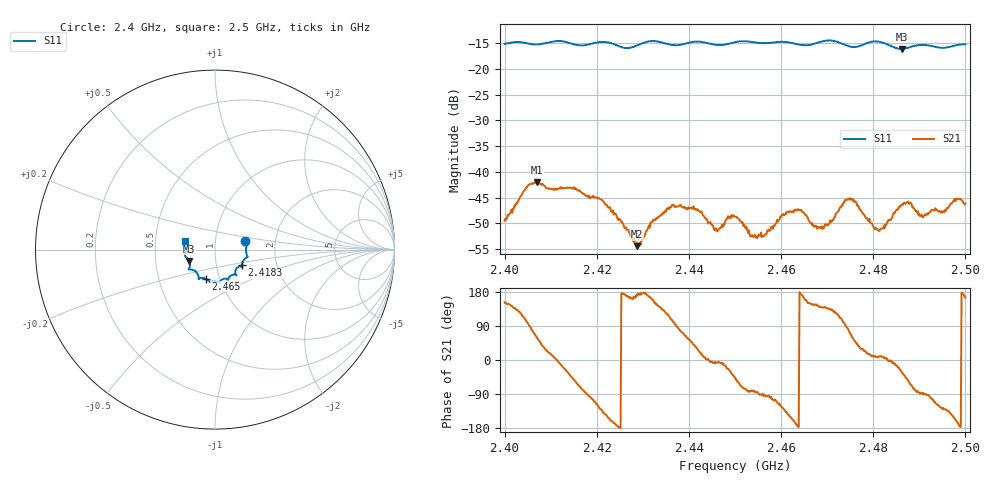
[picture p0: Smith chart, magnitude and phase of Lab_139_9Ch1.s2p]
# Hz S RI R 50
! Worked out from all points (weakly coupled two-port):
!   601 points, 2.4 GHz to 2.5 GHz, reference 50 ohm
!   highest |S21| = -41.98 dB at 2.407 GHz (marker M1); lowest = -54.4 dB at 2.4287 GHz (marker M2)
!   lowest |S11| = -16.1 dB at 2.4862 GHz (marker M3), VSWR 1.37, Z = 37.2 - j4.8 ohm
!   |S11| at or under -10 dB: start of sweep to end of sweep
!   S12 and S22 are empty: the file has one direction only
!   S11 on the Smith chart (normalised r, x): 2.4 GHz: 1.40, +0.13; 2.4183 GHz: 1.33, -0.24; 2.465 GHz: 0.86, -0.28; 2.5 GHz: 0.71, +0.07
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2.4e9  0.1687 0.0463  -0.00299 0.00155  0 0  0 0
2.407e9  0.1725 -0.00331  0.00403 0.00687  0 0  0 0
2.416667e9  0.1547 -0.0677  0.0015 -0.00615  0 0  0 0
2.418333e9  0.1499 -0.0869  -0.000542 -0.00585  0 0  0 0
2.421167e9  0.1525 -0.1007  -0.00373 -0.00382  0 0  0 0
2.428667e9  0.1123 -0.1253  -0.00186 0.000396  0 0  0 0
2.433333e9  0.1177 -0.1413  -0.00291 0.00221  0 0  0 0
2.436333e9  0.0969 -0.1405  -0.00129 0.00461  0 0  0 0
2.440833e9  0.0748 -0.1671  0.00323 0.00295  0 0  0 0
2.446e9  0.0538 -0.162  0.00266 -0.00034  0 0  0 0
2.45e9  0.0257 -0.1802  0.00258 -0.00264  0 0  0 0
2.4545e9  0.0115 -0.1798  0.000174 -0.0023  0 0  0 0
2.461667e9  -0.0311 -0.178  -0.00335 -0.00238  0 0  0 0
2.465e9  -0.0524 -0.1614  -0.00384 0.00113  0 0  0 0
2.466667e9  -0.0711 -0.1571  -0.00255 0.00171  0 0  0 0
2.470333e9  -0.0913 -0.1651  -0.00225 0.00217  0 0  0 0
2.474833e9  -0.0994 -0.1321  0.00159 0.00532  0 0  0 0
2.480833e9  -0.1479 -0.1104  0.00275 0.000432  0 0  0 0
2.483333e9  -0.1409 -0.0966  0.00342 -0.000178  0 0  0 0
2.486167e9  -0.1433 -0.063  0.0041 -0.00251  0 0  0 0
2.490667e9  -0.1675 -0.0351  6.14e-06 -0.00364  0 0  0 0
2.5e9  -0.1667 0.047  -0.00474 0.00131  0 0  0 0
